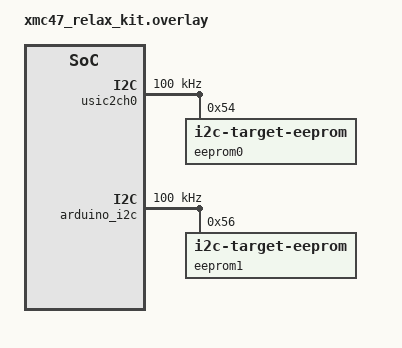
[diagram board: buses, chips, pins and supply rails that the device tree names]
/*
 * Copyright (c) 2023 Andriy Gelman
 *
 * SPDX-License-Identifier: Apache-2.0
 */

/*
 * This sample requires several connections listed below. However, no external pull-ups
 * are needed.
 * P3.8, P3.7, P1.9, P3.15 must all be connected (sda related pins)
 * P0.13, P1.8, P5.2 must all be connected (scl related pins)
 */

#include <zephyr/dt-bindings/i2c/i2c.h>

&usic2ch0 {
	compatible = "infineon,xmc4xxx-i2c";
	status = "okay";

	/* node is currently configured as arduino_spi */
	/delete-property/ miso-src;

	clock-frequency = <I2C_BITRATE_STANDARD>;
	pinctrl-0 = <&i2c_scl_p5_2_u2c0 &i2c_sda_dx0_p3_7_u2c0 &i2c_sda_dout0_p3_8_u2c0>;
	pinctrl-names = "default";

	scl-src = "DX1A";
	sda-src = "DX0C";

	eeprom0: eeprom@54 {
		compatible = "zephyr,i2c-target-eeprom";
		reg = <0x54>;
		size = <256>;
	};
};

&arduino_i2c {
	clock-frequency = <I2C_BITRATE_STANDARD>;
	pinctrl-0 = <&i2c_scl_p0_13_u1c1 &i2c_scl_dout1_p1_8_u1c1
		     &i2c_sda_dout0_p1_9_u1c1 &i2c_sda_p3_15_u1c1>;

	scl-src = "DX1B";
	sda-src = "DX0A";
	eeprom1: eeprom@56 {
		compatible = "zephyr,i2c-target-eeprom";
		reg = <0x56>;
		size = <256>;
	};
};

&i2c_scl_p5_2_u2c0 {
	drive-strength = "strong-soft-edge";
	drive-open-drain;
	hwctrl = "disabled";
};

&i2c_sda_dout0_p3_8_u2c0 {
	drive-strength = "strong-soft-edge";
	drive-open-drain;
	hwctrl = "disabled";
};

&i2c_sda_dx0_p3_7_u2c0 {
	drive-strength = "strong-soft-edge";
	hwctrl = "disabled";
	bias-pull-up;
};

&i2c_sda_p3_15_u1c1 {
	/delete-property/ drive-open-drain;
	bias-pull-up;
};

&i2c_sda_dout0_p1_9_u1c1 {
	drive-strength = "strong-soft-edge";
	drive-open-drain;
	hwctrl = "disabled";
};

&i2c_scl_p0_13_u1c1 {
	/delete-property/ drive-open-drain;
	bias-pull-up;
};

&i2c_scl_dout1_p1_8_u1c1 {
	drive-strength = "strong-soft-edge";
	drive-open-drain;
	hwctrl = "disabled";
};
